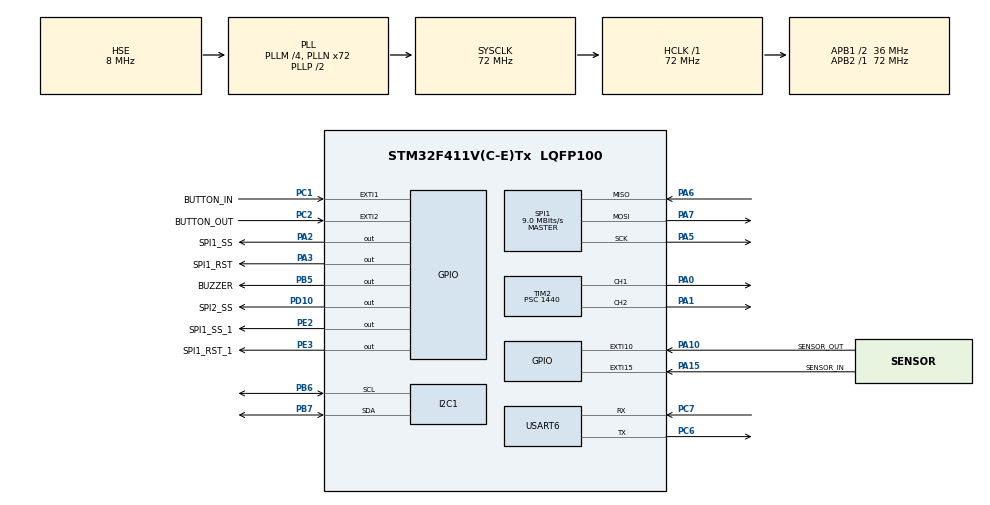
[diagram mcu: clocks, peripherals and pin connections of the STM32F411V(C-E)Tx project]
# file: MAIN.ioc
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Mcu.Family=STM32F4
Mcu.Name=STM32F411V(C-E)Tx
Mcu.Package=LQFP100
NVIC.EXTI15_10_IRQn=true\:4\:0\:true\:false\:true\:true\:true
NVIC.EXTI1_IRQn=true\:4\:0\:true\:false\:true\:true\:true
NVIC.EXTI2_IRQn=true\:4\:0\:true\:false\:true\:true\:true
NVIC.PriorityGroup=NVIC_PRIORITYGROUP_4
NVIC.TIM1_TRG_COM_TIM11_IRQn=true\:0\:0\:false\:false\:true\:true\:true
PA0-WKUP.Signal=S_TIM2_CH1_ETR
PA1.Signal=S_TIM2_CH2
PA10.GPIO_Label=SENSOR_OUT
PA10.GPIO_ModeDefaultEXTI=GPIO_MODE_IT_RISING
PA10.GPIO_PuPd=GPIO_PULLUP
PA10.Signal=GPXTI10
PA13.Mode=Serial_Wire
PA13.Signal=SYS_JTMS-SWDIO
PA14.Mode=Serial_Wire
PA14.Signal=SYS_JTCK-SWCLK
PA15.GPIO_Label=SENSOR_IN
PA15.GPIO_ModeDefaultEXTI=GPIO_MODE_IT_RISING
PA15.GPIO_PuPd=GPIO_NOPULL
PA15.Signal=GPXTI15
PA2.GPIO_Label=SPI1_SS
PA2.Signal=GPIO_Output
PA3.GPIO_Label=SPI1_RST
PA3.Signal=GPIO_Output
PA5.Mode=Full_Duplex_Master
PA5.Signal=SPI1_SCK
PA6.Mode=Full_Duplex_Master
PA6.Signal=SPI1_MISO
PA7.Mode=Full_Duplex_Master
PA7.Signal=SPI1_MOSI
PB5.GPIO_Label=BUZZER
PB5.Signal=GPIO_Output
PB6.Mode=I2C
PB6.Signal=I2C1_SCL
PB7.Mode=I2C
PB7.Signal=I2C1_SDA
PC1.GPIO_Label=BUTTON_IN
PC1.GPIO_ModeDefaultEXTI=GPIO_MODE_IT_RISING
PC1.GPIO_PuPd=GPIO_NOPULL
PC1.Signal=GPXTI1
PC2.GPIO_Label=BUTTON_OUT
PC2.GPIO_ModeDefaultEXTI=GPIO_MODE_IT_RISING
PC2.GPIO_PuPd=GPIO_NOPULL
PC2.Signal=GPXTI2
PC6.Mode=Asynchronous
PC6.Signal=USART6_TX
PC7.Mode=Asynchronous
PC7.Signal=USART6_RX
PD10.GPIO_Label=SPI2_SS
PD10.Signal=GPIO_Output
PE2.GPIO_Label=SPI1_SS_1
PE2.Signal=GPIO_Output
PE3.GPIO_Label=SPI1_RST_1
PE3.Signal=GPIO_Output
PH0\ -\ OSC_IN.Mode=HSE-External-Oscillator
PH0\ -\ OSC_IN.Signal=RCC_OSC_IN
PH1\ -\ OSC_OUT.Mode=HSE-External-Oscillator
PH1\ -\ OSC_OUT.Signal=RCC_OSC_OUT
ProjectManager.HeapSize=0x200
ProjectManager.StackSize=0x400
ProjectManager.TargetToolchain=STM32CubeIDE
RCC.48MHZClocksFreq_Value=36000000
RCC.AHBFreq_Value=72000000
RCC.APB1CLKDivider=RCC_HCLK_DIV2
RCC.APB1Freq_Value=36000000
RCC.APB1TimFreq_Value=72000000
RCC.APB2Freq_Value=72000000
RCC.APB2TimFreq_Value=72000000
RCC.CortexFreq_Value=72000000
RCC.HCLKFreq_Value=72000000
RCC.HSE_VALUE=8000000
RCC.HSI_VALUE=16000000
RCC.LSE_VALUE=32768
RCC.PLLM=4
RCC.PLLN=72
RCC.PLLSourceVirtual=RCC_PLLSOURCE_HSE
RCC.RCC_RTC_Clock_Source_FROM_HSE=RCC_RTCCLKSOURCE_HSE_DIV31
RCC.SYSCLKFreq_VALUE=72000000
RCC.SYSCLKSource=RCC_SYSCLKSOURCE_PLLCLK
RCC.VCOOutputFreq_Value=144000000
RTC.Date=1
RTC.Format=RTC_FORMAT_BIN
RTC.Hours=0
RTC.Minutes=0
RTC.Month=RTC_MONTH_JANUARY
RTC.WeekDay=RTC_WEEKDAY_TUESDAY
RTC.Year=0
SH.S_TIM2_CH1_ETR.0=TIM2_CH1,PWM Generation1 CH1
SH.S_TIM2_CH2.0=TIM2_CH2,PWM Generation2 CH2
SPI1.BaudRatePrescaler=SPI_BAUDRATEPRESCALER_8
SPI1.CalculateBaudRate=9.0 MBits/s
SPI1.Direction=SPI_DIRECTION_2LINES
SPI1.Mode=SPI_MODE_MASTER
SPI1.VirtualType=VM_MASTER
TIM11.AutoReloadPreload=TIM_AUTORELOAD_PRELOAD_ENABLE
TIM11.Prescaler=7200 - 1
TIM2.AutoReloadPreload=TIM_AUTORELOAD_PRELOAD_ENABLE
TIM2.Channel-PWM\ Generation1\ CH1=TIM_CHANNEL_1
TIM2.Channel-PWM\ Generation2\ CH2=TIM_CHANNEL_2
TIM2.Period=999
TIM2.Prescaler=1440
USART6.VirtualMode=VM_ASYNC
VP_RTC_VS_RTC_Activate.Mode=RTC_Enabled
VP_RTC_VS_RTC_Calendar.Mode=RTC_Calendar
VP_TIM11_VS_ClockSourceINT.Mode=Enable_Timer
VP_TIM2_VS_ClockSourceINT.Mode=Internal
board=custom

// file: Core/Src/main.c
/* USER CODE BEGIN Header */
/**
 ******************************************************************************
 * @file           : main.c
 * @brief          : Main program body
 ******************************************************************************
 * @attention
 *
 * Copyright (c) 2022 STMicroelectronics.
 * All rights reserved.
 *
 * This software is licensed under terms that can be found in the LICENSE file
 * in the root directory of this software component.
 * If no LICENSE file comes with this software, it is provided AS-IS.
 *
 ******************************************************************************
 */
/* USER CODE END Header */
#include "main.h"
#include "i2c.h"
#include "rtc.h"
#include "spi.h"
#include "tim.h"
#include "usart.h"
#include "gpio.h"

/* USER CODE BEGIN Includes */
#include "mfrc522.h"
#include "stdio.h"
#include "math.h"
#include "string.h"
#include "i2c-lcd.h"
/* USER CODE END Includes */

/* USER CODE BEGIN PM */
unsigned char CardID[4];
const uint8_t MyID[][4] =  {{0xBB, 0x68, 0xAC, 0x1C},		//white card
							{0xF3, 0x8A, 0x50, 0x12},		//SV02
							{0xE3, 0x11, 0x89, 0xA3}};		//new white card
const uint8_t Num_Card = sizeof(MyID) / sizeof(MyID[0]);
struct LIST_ID
{
	unsigned char ID[4];
	uint8_t index;
	uint8_t data[16];
};
uint8_t defaultKeyA[16] = { 0xFF, 0xFF, 0xFF, 0xFF, 0xFF, 0xFF };
uint8_t data[16];
uint8_t serNum[4];
unsigned char numData[10];
unsigned char c;
uint8_t clear = 0;
uint8_t t = 0;
/* USER CODE END PM */

void SystemClock_Config(void);

/* USER CODE BEGIN 0 */
TIM_HandleTypeDef htim2;
TIM_HandleTypeDef htim11;
RTC_HandleTypeDef hrtc;
void delay_ms(uint16_t ms);
void Read_Block(void);
void display(uint8_t n);
void clear_numData(void);
uint8_t CompareData(void);
int _write(int file, char *ptr, int len)
{
	int i = 0;
	for(i = 0; i < len; i++)
	{
		ITM_SendChar((*ptr++));
	}
	return len;
}
/* USER CODE END 0 */

int main(void)
{
  /* USER CODE BEGIN 1 */

//	struct LIST_ID list[Num_Card];
//	for (int i = 0; i < Num_Card; i++)
//	{
//		for (int j = 0; j < 4; j++)
//		{
//			list[i].ID[j] = MyID[i][j];
//		}
////		list[i].index = 0;
//	}
  /* USER CODE END 1 */

  /* MCU Configuration--------------------------------------------------------*/

  /* Reset of all peripherals, Initializes the Flash interface and the Systick. */
  HAL_Init();

  /* Configure the system clock */
  SystemClock_Config();

  /* Initialize all configured peripherals */
  MX_GPIO_Init();
  MX_TIM2_Init();
  MX_SPI1_Init();
  MX_I2C1_Init();
  MX_TIM11_Init();
  MX_RTC_Init();
  MX_USART6_UART_Init();
  /* USER CODE BEGIN 2 */
  lcd_init();
	HAL_TIM_PWM_Start(&htim2, TIM_CHANNEL_1);
	HAL_TIM_PWM_Start(&htim2, TIM_CHANNEL_2);

	HAL_TIM_Base_Start(&htim11);
//	RTC_TimeTypeDef sTime;
//	RTC_DateTypeDef sDate;

	lcd_clear();
	lcd_put_cur(0,0);
	lcd_send_string("RUNNING...");
	htim2.Instance->CCR2 = 30;
	htim2.Instance->CCR1 = 118;
	Buzzer_Announ(2000);
	clear_numData();
	MFRC522_Reset();
	MFRC522_AntennaOn();
	MFRC522_Out_Reset();
	MFRC522_Out_AntennaOn();
	htim2.Instance->CCR2 = 80;
	htim2.Instance->CCR1 = 65;
	lcd_clear();
	lcd_put_cur(0,0);
	lcd_send_string("IN: ");
	lcd_put_cur(1, 0);
	lcd_send_string("OUT: ");
  /* USER CODE END 2 */

  /* Infinite loop */
	while (1)
	{

    /* USER CODE BEGIN 3 */
		//Check UID card
        if (MFRC522_Request(PICC_REQALL, serNum) == MI_OK)
		{
        	t = 1;
			if (MFRC522_Anticoll(serNum) != MI_OK) 										continue;
			if (MFRC522_Select(serNum) != MI_OK)										continue;
			if (MFRC522_AuthState(PICC_AUTHENT1A, 4, defaultKeyA, serNum) != MI_OK)		continue;
			if (MFRC522_Read(4, data) != MI_OK)											continue;
			if(data[0] != 48)
			{
				lcd_put_cur(0,4);
				lcd_send_string("Error");
				Buzzer_Announ(500);
				lcd_put_cur(0,0);
				lcd_send_string("IN:                ");
				continue;
			}
			else
			{
				HAL_UART_Transmit(&huart6, (uint8_t*) "I", 1, 300);
				while(HAL_UART_Receive(&huart6,(uint8_t*)  &c, 1, 300) != HAL_OK)
				{
					if(c != "D" && c != "E")
					{
						continue;
					}
					else
					{
						break;
					}
				}
				switch(c)
				{
					case 'E':
					{
						Buzzer_Announ(500);
						continue;
					}
					case 'D':
					{
						while(HAL_UART_Receive(&huart6, (uint8_t*)&numData, 10, 1000) != HAL_OK);
						MFRC522_Write(4, (uint8_t*) &numData);
						display(4);
						delay_ms(1000);
						lcd_put_cur(0,0);
						lcd_send_string("IN:                ");
						clear_numData();
						htim2.Instance->CCR2 = 30;
						delay_ms(700);
						continue;
					}
				}
			}

		}
		else if (MFRC522_Out_Request(PICC_REQALL, serNum) == MI_OK)
		{
			if (MFRC522_Out_Anticoll(serNum) != MI_OK) 										continue;
			if (MFRC522_Select_Out(serNum) != MI_OK)										continue;
			if (MFRC522_AuthState_Out(PICC_AUTHENT1A, 4, defaultKeyA, serNum) != MI_OK) 	continue;
			if (MFRC522_Read_Out(4, data) != MI_OK)											continue;
			if(data[0] == 48)
			{
				lcd_put_cur(1,5);
				lcd_send_string("Error");
				Buzzer_Announ(500);
				lcd_put_cur(1,0);
				lcd_send_string("OUT:                ");
				continue;
			}
			else
			{
				HAL_UART_Transmit(&huart6, (uint8_t*)"O", 1, 300);
				while(HAL_UART_Receive(&huart6,(uint8_t*)  &c, 1, 300) != HAL_OK)
				{
					if(c != "D" && c != "E")
					{
						continue;
					}
					else
					{
						break;
					}
				}
				switch(c)
				{
					case 'E':
					{
						Buzzer_Announ(500);
						continue;
					}
					case 'D':
					{
						while(HAL_UART_Receive(&huart6, (uint8_t*)&numData, 10, 1000) != HAL_OK);
						if(CompareData() == MI_OK)
						{
							MFRC522_Write_Out(4, (uint8_t*) "0000000000");
							display(5);
							delay_ms(1000);
							lcd_put_cur(1,0);
							lcd_send_string("OUT:              ");
							clear_numData();
							htim2.Instance->CCR1 = 118;
							delay_ms(700);
						}
						else
						{
							lcd_put_cur(1,5);
							lcd_send_string("Error");
							Buzzer_Announ(500);
							lcd_put_cur(1,0);
							lcd_send_string("OUT:                ");
						}
						continue;
					}
				}
			}
		}
		while(clear)
		{
			if (MFRC522_Request(PICC_REQALL, serNum) == MI_OK)
			{
				lcd_clear();
				lcd_put_cur(0, 0);
				lcd_send_string("----CLEAR----");
				if (MFRC522_Anticoll(serNum) != MI_OK) 										continue;
				if (MFRC522_Select(serNum) != MI_OK)										continue;
				if (MFRC522_AuthState(PICC_AUTHENT1A, 4, defaultKeyA, serNum) != MI_OK)		continue;
				if (MFRC522_Read(4, data) != MI_OK)											continue;
				while(MFRC522_Write(4, (uint8_t*) "0000000000") != MI_OK);
				lcd_clear();
				lcd_put_cur(0,0);
				lcd_send_string("IN: ");
				lcd_put_cur(1, 0);
				lcd_send_string("OUT: ");
				clear = 0;
			}
		}

	}
  /* USER CODE END 3 */
}

void SystemClock_Config(void)
{
  RCC_OscInitTypeDef RCC_OscInitStruct = {0};
  RCC_ClkInitTypeDef RCC_ClkInitStruct = {0};

  /** Configure the main internal regulator output voltage
  */
  __HAL_RCC_PWR_CLK_ENABLE();
  __HAL_PWR_VOLTAGESCALING_CONFIG(PWR_REGULATOR_VOLTAGE_SCALE1);
  /** Initializes the RCC Oscillators according to the specified parameters
  * in the RCC_OscInitTypeDef structure.
  */
  RCC_OscInitStruct.OscillatorType = RCC_OSCILLATORTYPE_LSI|RCC_OSCILLATORTYPE_HSE;
  RCC_OscInitStruct.HSEState = RCC_HSE_ON;
  RCC_OscInitStruct.LSIState = RCC_LSI_ON;
  RCC_OscInitStruct.PLL.PLLState = RCC_PLL_ON;
  RCC_OscInitStruct.PLL.PLLSource = RCC_PLLSOURCE_HSE;
  RCC_OscInitStruct.PLL.PLLM = 4;
  RCC_OscInitStruct.PLL.PLLN = 72;
  RCC_OscInitStruct.PLL.PLLP = RCC_PLLP_DIV2;
  RCC_OscInitStruct.PLL.PLLQ = 4;
  if (HAL_RCC_OscConfig(&RCC_OscInitStruct) != HAL_OK)
  {
    Error_Handler();
  }
  /** Initializes the CPU, AHB and APB buses clocks
  */
  RCC_ClkInitStruct.ClockType = RCC_CLOCKTYPE_HCLK|RCC_CLOCKTYPE_SYSCLK
                              |RCC_CLOCKTYPE_PCLK1|RCC_CLOCKTYPE_PCLK2;
  RCC_ClkInitStruct.SYSCLKSource = RCC_SYSCLKSOURCE_PLLCLK;
  RCC_ClkInitStruct.AHBCLKDivider = RCC_SYSCLK_DIV1;
  RCC_ClkInitStruct.APB1CLKDivider = RCC_HCLK_DIV2;
  RCC_ClkInitStruct.APB2CLKDivider = RCC_HCLK_DIV1;

  if (HAL_RCC_ClockConfig(&RCC_ClkInitStruct, FLASH_LATENCY_2) != HAL_OK)
  {
    Error_Handler();
  }
}

/* USER CODE BEGIN 4 */
/************************************************************************
 Internal CLock = 72MHz = 72 000 000 Hz
 Ftimer = 72 000 000 / Prescaler(7200) = 10 000
 Ttimer = 1/Ftimer = 10^-4 s = 0.1 ms
 => Time ngat tran (ms) = 1ms => Counter Period = 1/0.1 = 10
 ************************************************************************/
void delay_ms(uint16_t ms)
{
	__HAL_TIM_SET_COUNTER(&htim11, 0);
	while(__HAL_TIM_GET_COUNTER(&htim11) < (ms * 10) );
}

void Buzzer_Announ(uint32_t time)
{
	HAL_GPIO_WritePin(BUZZER_GPIO_Port, BUZZER_Pin, GPIO_PIN_SET);
	delay_ms(time);
	HAL_GPIO_WritePin(BUZZER_GPIO_Port, BUZZER_Pin, GPIO_PIN_RESET);
}

void HAL_GPIO_EXTI_Callback(uint16_t GPIO_Pin)
{
	switch (GPIO_Pin) {
	case BUTTON_OUT_Pin: {
//		htim2.Instance->CCR1 = 118;
		clear = 1;
		break;
	}
	case BUTTON_IN_Pin: {
		htim2.Instance->CCR2 = 30;
		break;
	}
	case SENSOR_OUT_Pin: {
		htim2.Instance->CCR1 = 65;
		break;
	}
	case SENSOR_IN_Pin: {
		htim2.Instance->CCR2 = 80;
		break;
	}
	}
}

void display(uint8_t n) //IN --> n = 4; OUT --> n = 5;
{
	uint8_t x;
	if((char)numData[9] == '-')
		x = 9;
	else
		x = 10;
	for(int j = 0; j < x; j++)
	{
		lcd_put_cur((n - 4), j + n);
		lcd_send_data((char)numData[j]);
	}
}

uint8_t CompareData()
{
	uint8_t x;
	if((char)numData[9] == '-')
		x = 9;
	else
		x = 10;
	for (int i = 0; i < x; i++) {
		if (data[i] != numData[i])
		{
			return MI_ERR;
		}
	}
	return MI_OK;
}

void clear_numData()
{
	for(int i = 0; i < 10; i++)
	{
		numData[i] = 0;
	}
}
/* USER CODE END 4 */

void Error_Handler(void)
{
	__disable_irq();
	while (1) {
	}
}
